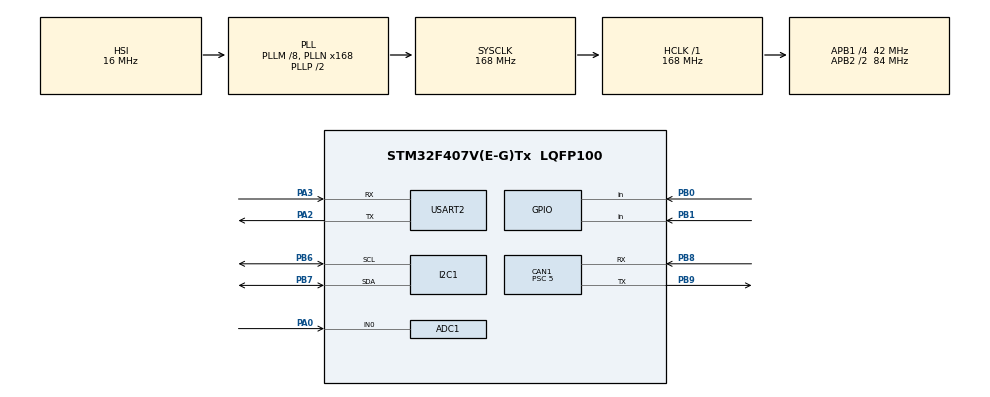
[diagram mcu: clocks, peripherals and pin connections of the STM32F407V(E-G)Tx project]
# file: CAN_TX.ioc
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ADC1.Channel-0\#ChannelRegularConversion=ADC_CHANNEL_0
ADC1.NbrOfConversionFlag=1
ADC1.Rank-0\#ChannelRegularConversion=1
ADC1.SamplingTime-0\#ChannelRegularConversion=ADC_SAMPLETIME_3CYCLES
ADC1.master=1
CAN1.BS1=CAN_BS1_13TQ
CAN1.BS2=CAN_BS2_2TQ
CAN1.CalculateBaudRate=525000
CAN1.CalculateTimeBit=1904
CAN1.CalculateTimeQuantum=119.04761904761905
CAN1.NART=ENABLE
CAN1.Prescaler=5
Mcu.Family=STM32F4
Mcu.Name=STM32F407V(E-G)Tx
Mcu.Package=LQFP100
NVIC.PriorityGroup=NVIC_PRIORITYGROUP_0
PA0-WKUP.Signal=ADCx_IN0
PA2.Mode=Asynchronous
PA2.Signal=USART2_TX
PA3.Mode=Asynchronous
PA3.Signal=USART2_RX
PB0.Signal=GPIO_Input
PB1.Signal=GPIO_Input
PB6.Mode=I2C
PB6.Signal=I2C1_SCL
PB7.Mode=I2C
PB7.Signal=I2C1_SDA
PB8.Mode=CAN_Activate
PB8.Signal=CAN1_RX
PB9.Mode=CAN_Activate
PB9.Signal=CAN1_TX
ProjectManager.HeapSize=0x200
ProjectManager.StackSize=0x400
ProjectManager.TargetToolchain=STM32CubeIDE
RCC.48MHZClocksFreq_Value=48000000
RCC.AHBFreq_Value=168000000
RCC.APB1CLKDivider=RCC_HCLK_DIV4
RCC.APB1Freq_Value=42000000
RCC.APB1TimFreq_Value=84000000
RCC.APB2CLKDivider=RCC_HCLK_DIV2
RCC.APB2Freq_Value=84000000
RCC.APB2TimFreq_Value=168000000
RCC.CortexFreq_Value=168000000
RCC.HCLKFreq_Value=168000000
RCC.HSE_VALUE=8000000
RCC.HSI_VALUE=16000000
RCC.LSE_VALUE=32768
RCC.PLLM=8
RCC.PLLN=168
RCC.PLLQ=7
RCC.SYSCLKFreq_VALUE=168000000
RCC.SYSCLKSource=RCC_SYSCLKSOURCE_PLLCLK
RCC.VCOOutputFreq_Value=336000000
SH.ADCx_IN0.0=ADC1_IN0,IN0
USART2.VirtualMode=VM_ASYNC
board=STM32F407G-DISC1

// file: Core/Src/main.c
/* USER CODE BEGIN Header */
/**
  ******************************************************************************
  * @file           : main.c
  * @brief          : Main program body
  ******************************************************************************
  * @attention
  *
  * Copyright (c) 2026 STMicroelectronics.
  * All rights reserved.
  *
  * This software is licensed under terms that can be found in the LICENSE file
  * in the root directory of this software component.
  * If no LICENSE file comes with this software, it is provided AS-IS.
  *
  ******************************************************************************
  */
/* USER CODE END Header */
#include "main.h"

/* USER CODE BEGIN Includes */

#include "common.h"
#include "mpu6050.h"
#include "dht11.h"
#include "mq2.h"
#include "safety_monitor.h"
#include "can_driver.h"

#include <stdio.h>
#include <string.h>

/* USER CODE END Includes */

ADC_HandleTypeDef hadc1;

CAN_HandleTypeDef hcan1;

I2C_HandleTypeDef hi2c1;

UART_HandleTypeDef huart2;

/* USER CODE BEGIN PV */
SensorData_t Sensor;

char TxBuffer[128];
/* USER CODE END PV */

void SystemClock_Config(void);
static void MX_GPIO_Init(void);
static void MX_CAN1_Init(void);
static void MX_I2C1_Init(void);
static void MX_USART2_UART_Init(void);
static void MX_ADC1_Init(void);

int main(void)
{

  /* MCU Configuration--------------------------------------------------------*/

  /* Reset of all peripherals, Initializes the Flash interface and the Systick. */
  HAL_Init();

  /* Configure the system clock */
  SystemClock_Config();

  /* Initialize all configured peripherals */
  MX_GPIO_Init();
  MX_CAN1_Init();
  MX_I2C1_Init();
  MX_USART2_UART_Init();
  MX_ADC1_Init();
  /* USER CODE BEGIN 2 */

  /* Wait for power to stabilize */
  HAL_Delay(1000);

  /* Initialize Sensors */
  MPU6050_Init();
  DHT11_Init();
  MQ2_Init();

  /* Initialize CAN */
  CAN_Driver_Init();

  /* Startup Message */
  sprintf(TxBuffer, "\r\n===== CAN TX NODE STARTED =====\r\n");

  HAL_UART_Transmit(&huart2,
                    (uint8_t *)TxBuffer,
                    strlen(TxBuffer),
                    HAL_MAX_DELAY);

  /* USER CODE END 2 */

  /* Infinite loop */
  /* USER CODE BEGIN WHILE */
  while (1)
  {
	  if (SafetyMonitor_Update(&Sensor) == HAL_OK)
	      {
	          /* Send CAN Status */
		  	  CAN_SendPacket(&Sensor);

	          /* Print Sensor Data */
	         sprintf(TxBuffer,
	                  "AX:%6d AY:%6d AZ:%6d | MAG:%8.2f | VIB:%8.2f | TEMP:%2dC | HUM:%2d%% | MQ2_ADC:%4d | GAS:%d | %s\r\n",
	                  Sensor.Ax,
	                  Sensor.Ay,
	                  Sensor.Az,
	                  Sensor.Magnitude,
	                  Sensor.Vibration,
	                  Sensor.Temperature,
	                  Sensor.Humidity,
	                  Sensor.GasRaw,        // Raw ADC value (0-4095)
	                  Sensor.GasDetected,   // 0 = Gas Detected, 1 = Safe
	                  (Sensor.Status == STATUS_NORMAL) ? "NORMAL" : "EMERGENCY");

	          HAL_UART_Transmit(&huart2,
	                            (uint8_t *)TxBuffer,
	                            strlen(TxBuffer),
	                            HAL_MAX_DELAY);
	      }
	      else
	      {
	          sprintf(TxBuffer,
	                  "Sensor Read Error\r\n");

	          HAL_UART_Transmit(&huart2,
	                            (uint8_t *)TxBuffer,
	                            strlen(TxBuffer),
	                            HAL_MAX_DELAY);
	      }

	      HAL_Delay(1000);

    /* USER CODE END WHILE */

  }
}

void SystemClock_Config(void)
{
  RCC_OscInitTypeDef RCC_OscInitStruct = {0};
  RCC_ClkInitTypeDef RCC_ClkInitStruct = {0};

  /** Configure the main internal regulator output voltage
  */
  __HAL_RCC_PWR_CLK_ENABLE();
  __HAL_PWR_VOLTAGESCALING_CONFIG(PWR_REGULATOR_VOLTAGE_SCALE1);

  /** Initializes the RCC Oscillators according to the specified parameters
  * in the RCC_OscInitTypeDef structure.
  */
  RCC_OscInitStruct.OscillatorType = RCC_OSCILLATORTYPE_HSI;
  RCC_OscInitStruct.HSIState = RCC_HSI_ON;
  RCC_OscInitStruct.HSICalibrationValue = RCC_HSICALIBRATION_DEFAULT;
  RCC_OscInitStruct.PLL.PLLState = RCC_PLL_ON;
  RCC_OscInitStruct.PLL.PLLSource = RCC_PLLSOURCE_HSI;
  RCC_OscInitStruct.PLL.PLLM = 8;
  RCC_OscInitStruct.PLL.PLLN = 168;
  RCC_OscInitStruct.PLL.PLLP = RCC_PLLP_DIV2;
  RCC_OscInitStruct.PLL.PLLQ = 7;
  if (HAL_RCC_OscConfig(&RCC_OscInitStruct) != HAL_OK)
  {
    Error_Handler();
  }

  /** Initializes the CPU, AHB and APB buses clocks
  */
  RCC_ClkInitStruct.ClockType = RCC_CLOCKTYPE_HCLK|RCC_CLOCKTYPE_SYSCLK
                              |RCC_CLOCKTYPE_PCLK1|RCC_CLOCKTYPE_PCLK2;
  RCC_ClkInitStruct.SYSCLKSource = RCC_SYSCLKSOURCE_PLLCLK;
  RCC_ClkInitStruct.AHBCLKDivider = RCC_SYSCLK_DIV1;
  RCC_ClkInitStruct.APB1CLKDivider = RCC_HCLK_DIV4;
  RCC_ClkInitStruct.APB2CLKDivider = RCC_HCLK_DIV2;

  if (HAL_RCC_ClockConfig(&RCC_ClkInitStruct, FLASH_LATENCY_5) != HAL_OK)
  {
    Error_Handler();
  }
}

static void MX_ADC1_Init(void)
{

  ADC_ChannelConfTypeDef sConfig = {0};

  /** Configure the global features of the ADC (Clock, Resolution, Data Alignment and number of conversion)
  */
  hadc1.Instance = ADC1;
  hadc1.Init.ClockPrescaler = ADC_CLOCK_SYNC_PCLK_DIV4;
  hadc1.Init.Resolution = ADC_RESOLUTION_12B;
  hadc1.Init.ScanConvMode = DISABLE;
  hadc1.Init.ContinuousConvMode = DISABLE;
  hadc1.Init.DiscontinuousConvMode = DISABLE;
  hadc1.Init.ExternalTrigConvEdge = ADC_EXTERNALTRIGCONVEDGE_NONE;
  hadc1.Init.ExternalTrigConv = ADC_SOFTWARE_START;
  hadc1.Init.DataAlign = ADC_DATAALIGN_RIGHT;
  hadc1.Init.NbrOfConversion = 1;
  hadc1.Init.DMAContinuousRequests = DISABLE;
  hadc1.Init.EOCSelection = ADC_EOC_SINGLE_CONV;
  if (HAL_ADC_Init(&hadc1) != HAL_OK)
  {
    Error_Handler();
  }

  /** Configure for the selected ADC regular channel its corresponding rank in the sequencer and its sample time.
  */
  sConfig.Channel = ADC_CHANNEL_0;
  sConfig.Rank = 1;
  sConfig.SamplingTime = ADC_SAMPLETIME_3CYCLES;
  if (HAL_ADC_ConfigChannel(&hadc1, &sConfig) != HAL_OK)
  {
    Error_Handler();
  }

}

static void MX_CAN1_Init(void)
{

  hcan1.Instance = CAN1;
  hcan1.Init.Prescaler = 5;
  hcan1.Init.Mode = CAN_MODE_NORMAL;
  hcan1.Init.SyncJumpWidth = CAN_SJW_1TQ;
  hcan1.Init.TimeSeg1 = CAN_BS1_13TQ;
  hcan1.Init.TimeSeg2 = CAN_BS2_2TQ;
  hcan1.Init.TimeTriggeredMode = DISABLE;
  hcan1.Init.AutoBusOff = DISABLE;
  hcan1.Init.AutoWakeUp = DISABLE;
  hcan1.Init.AutoRetransmission = ENABLE;
  hcan1.Init.ReceiveFifoLocked = DISABLE;
  hcan1.Init.TransmitFifoPriority = DISABLE;
  if (HAL_CAN_Init(&hcan1) != HAL_OK)
  {
    Error_Handler();
  }

}

static void MX_I2C1_Init(void)
{

  hi2c1.Instance = I2C1;
  hi2c1.Init.ClockSpeed = 100000;
  hi2c1.Init.DutyCycle = I2C_DUTYCYCLE_2;
  hi2c1.Init.OwnAddress1 = 0;
  hi2c1.Init.AddressingMode = I2C_ADDRESSINGMODE_7BIT;
  hi2c1.Init.DualAddressMode = I2C_DUALADDRESS_DISABLE;
  hi2c1.Init.OwnAddress2 = 0;
  hi2c1.Init.GeneralCallMode = I2C_GENERALCALL_DISABLE;
  hi2c1.Init.NoStretchMode = I2C_NOSTRETCH_DISABLE;
  if (HAL_I2C_Init(&hi2c1) != HAL_OK)
  {
    Error_Handler();
  }

}

static void MX_USART2_UART_Init(void)
{

  huart2.Instance = USART2;
  huart2.Init.BaudRate = 115200;
  huart2.Init.WordLength = UART_WORDLENGTH_8B;
  huart2.Init.StopBits = UART_STOPBITS_1;
  huart2.Init.Parity = UART_PARITY_NONE;
  huart2.Init.Mode = UART_MODE_TX_RX;
  huart2.Init.HwFlowCtl = UART_HWCONTROL_NONE;
  huart2.Init.OverSampling = UART_OVERSAMPLING_16;
  if (HAL_UART_Init(&huart2) != HAL_OK)
  {
    Error_Handler();
  }

}

static void MX_GPIO_Init(void)
{
  GPIO_InitTypeDef GPIO_InitStruct = {0};

  /* GPIO Ports Clock Enable */
  __HAL_RCC_GPIOA_CLK_ENABLE();
  __HAL_RCC_GPIOB_CLK_ENABLE();

  /*Configure GPIO pins : PB0 PB1 */
  GPIO_InitStruct.Pin = GPIO_PIN_0|GPIO_PIN_1;
  GPIO_InitStruct.Mode = GPIO_MODE_INPUT;
  GPIO_InitStruct.Pull = GPIO_NOPULL;
  HAL_GPIO_Init(GPIOB, &GPIO_InitStruct);

}

void Error_Handler(void)
{
  __disable_irq();
  while (1)
  {
  }
}
